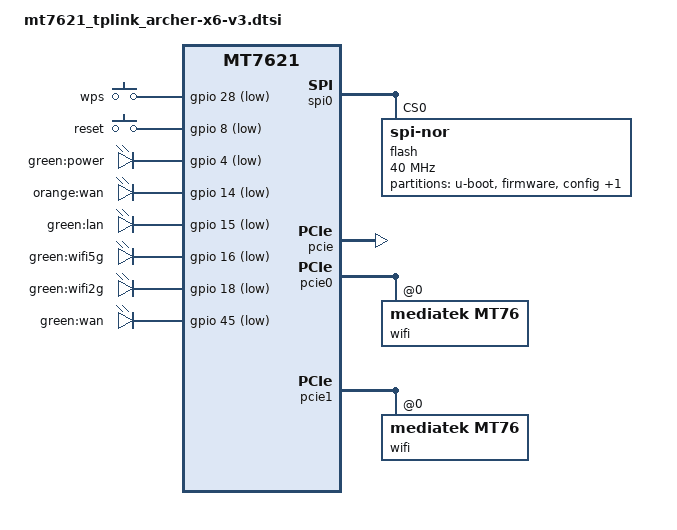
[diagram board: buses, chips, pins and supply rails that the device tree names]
// SPDX-License-Identifier: GPL-2.0-only

#include "mt7621.dtsi"

#include <dt-bindings/gpio/gpio.h>
#include <dt-bindings/input/input.h>

/ {
	aliases {
		label-mac-device = &gmac0;
		led-boot = &led_power;
		led-failsafe = &led_power;
		led-running = &led_power;
		led-upgrade = &led_power;
	};

	chosen {
		bootargs = "console=ttyS0,115200n8";
	};

	keys {
		compatible = "gpio-keys";

		wps {
			label = "wps";
			gpios = <&gpio 28 GPIO_ACTIVE_LOW>;
			debounce-interval = <60>;
			linux,code = <KEY_WPS_BUTTON>;
		};

		reset {
			label = "reset";
			gpios = <&gpio 8 GPIO_ACTIVE_LOW>;
			debounce-interval = <60>;
			linux,code = <KEY_RESTART>;
		};
	};

	leds {
		compatible = "gpio-leds";

		led_power: power {
			label = "green:power";
			gpios = <&gpio 4 GPIO_ACTIVE_LOW>;
		};

		wan_orange {
			label = "orange:wan";
			gpios = <&gpio 14 GPIO_ACTIVE_LOW>;
		};

		lan {
			label = "green:lan";
			gpios = <&gpio 15 GPIO_ACTIVE_LOW>;
		};

		wifi5g {
			label = "green:wifi5g";
			gpios = <&gpio 16 GPIO_ACTIVE_LOW>;
			linux,default-trigger = "phy1tpt";
		};

		wifi2g {
			label = "green:wifi2g";
			gpios = <&gpio 18 GPIO_ACTIVE_LOW>;
			linux,default-trigger = "phy0tpt";
		};

		wan_green {
			label = "green:wan";
			gpios = <&gpio 45 GPIO_ACTIVE_LOW>;
		};
	};
};

&spi0 {
	status = "okay";

	flash@0 {
		compatible = "jedec,spi-nor";
		reg = <0>;
		spi-max-frequency = <40000000>;

		partitions {
			compatible = "fixed-partitions";
			#address-cells = <1>;
			#size-cells = <1>;

			partition@0 {
				label = "u-boot";
				reg = <0x0 0x40000>;
				read-only;
			};

			partition@40000 {
				label = "firmware";
				compatible = "denx,uimage";
				reg = <0x40000 0xf60000>;
			};

			config: partition@fa0000 {
				label = "config";
				reg = <0xfa0000 0x50000>;
				read-only;
			};

			radio: partition@ff0000 {
				label = "radio";
				reg = <0xff0000 0x10000>;
				read-only;
			};
		};
	};
};

&state_default {
	gpio {
		groups =  "i2c", "uart2", "uart3", "jtag", "wdt";
		function = "gpio";
	};
};

&ethernet {
	pinctrl-names = "default";
	pinctrl-0 = <&rgmii1_pins &mdio_pins>;
};

&pcie {
	status = "okay";
};

&pcie0 {
	wifi@0,0 {
		compatible = "mediatek,mt76";
		reg = <0x0000 0 0 0 0>;
		mediatek,mtd-eeprom = <&radio 0x0>;
		mtd-mac-address = <&config 0x8>;
		mtd-mac-address-increment = <1>;
		ieee80211-freq-limit = <2400000 2500000>;
	};
};

&pcie1 {
	wifi@0,0 {
		compatible = "mediatek,mt76";
		reg = <0x0000 0 0 0 0>;
		mediatek,mtd-eeprom = <&radio 0x8000>;
		mtd-mac-address = <&config 0x8>;
		mtd-mac-address-increment = <2>;
		ieee80211-freq-limit = <5000000 6000000>;
	};
};

&gmac0 {
	mtd-mac-address = <&config 0x8>;
};

&switch0 {
	ports {
		port@0 {
			status = "okay";
			label = "wan";
		};

		port@1 {
			status = "okay";
			label = "lan1";
		};

		port@2 {
			status = "okay";
			label = "lan2";
		};

		port@3 {
			status = "okay";
			label = "lan3";
		};

		port@4 {
			status = "okay";
			label = "lan4";
		};
	};
};
